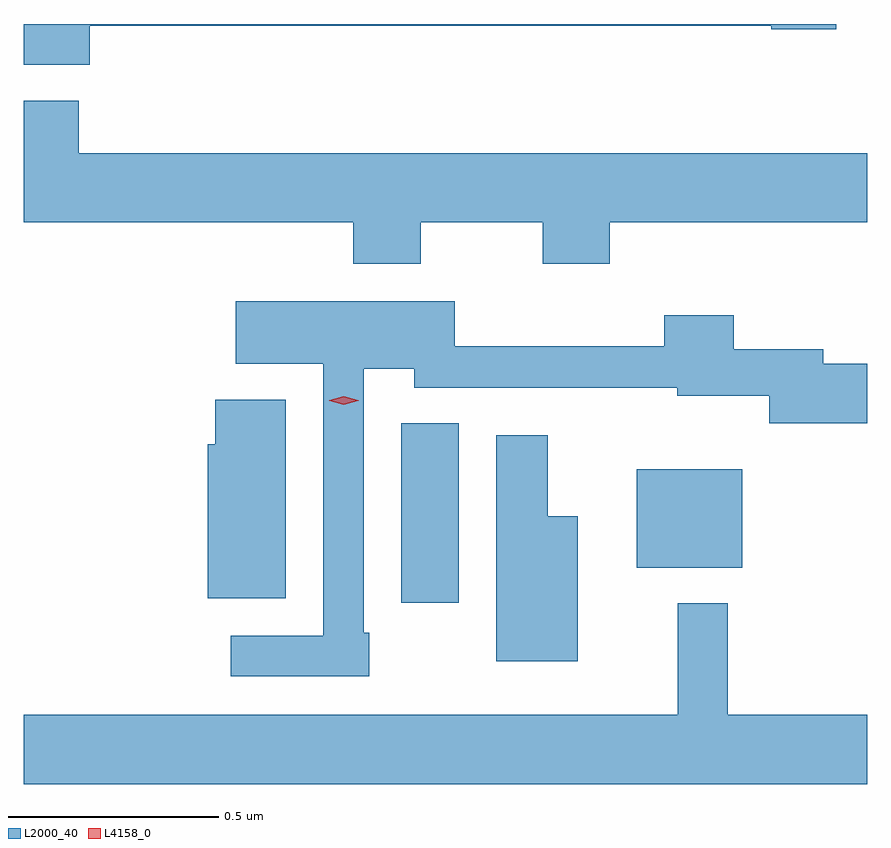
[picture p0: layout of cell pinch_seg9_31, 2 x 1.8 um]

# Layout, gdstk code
import gdstk
lib = gdstk.Library(unit=1e-6, precision=1e-09)
def R(c, l, rs):  # rectangles x0, y0, x1, y1
    for r in rs: c.add(gdstk.rectangle(r[:2], r[2:], *l))
def P(c, l, *ps):  # polygons
    for p in ps: c.add(gdstk.Polygon(p, *l))
L2000_40 = (2000, 40)
L4158_0 = (4158, 0)

pinch_seg9_31 = lib.new_cell('pinch_seg9_31')
R(pinch_seg9_31, L2000_40, [(929.261,1226.154,929.398,1226.579), (929.819,1226.237,930.07,1226.47)])
P(pinch_seg9_31, L2000_40, [(928.523,1227.522),(930.138,1227.522),(930.138,1227.514),(930.292,1227.514),(930.292,1227.526),(928.366,1227.526),(928.366,1227.429),(928.523,1227.429)],
  [(929.307,1227.056),(929.596,1227.056),(929.596,1226.957),(929.756,1226.957),(929.756,1227.056),(930.366,1227.056),(930.366,1227.22),(928.496,1227.22),(928.496,1227.344),(928.366,1227.344),(928.366,1227.056),(929.147,1227.056),(929.147,1226.957),(929.307,1226.957)],
  [(929.185,1226.083),(929.172,1226.083),(929.172,1226.708),(929.292,1226.708),(929.292,1226.664),(929.704,1226.664),(929.704,1226.663),(929.916,1226.663),(929.916,1226.645),(930.134,1226.645),(930.134,1226.579),(930.366,1226.579),(930.366,1226.721),(930.262,1226.721),(930.262,1226.755),(930.05,1226.755),(930.05,1226.836),(929.885,1226.836),(929.885,1226.762),(929.388,1226.762),(929.388,1226.869),(928.869,1226.869),(928.869,1226.72),(929.076,1226.72),(929.076,1226.076),(928.857,1226.076),(928.857,1225.98),(929.185,1225.98)],
  [(928.987,1226.635),(928.82,1226.635),(928.82,1226.529),(928.802,1226.529),(928.802,1226.165),(928.987,1226.165)],
  [(929.68,1226.359),(929.608,1226.359),(929.608,1226.551),(929.486,1226.551),(929.486,1226.015),(929.68,1226.015)],
  [(930.366,1225.888),(930.035,1225.888),(930.035,1226.152),(929.917,1226.152),(929.917,1225.888),(928.366,1225.888),(928.366,1225.724),(930.366,1225.724)])
P(pinch_seg9_31, L4158_0, [(929.125,1226.623),(929.09,1226.633),(929.09,1226.633),(929.09,1226.634),(929.125,1226.643),(929.159,1226.634),(929.16,1226.633),(929.159,1226.633)])

lib.write_gds('pinch_seg9_31.gds')
